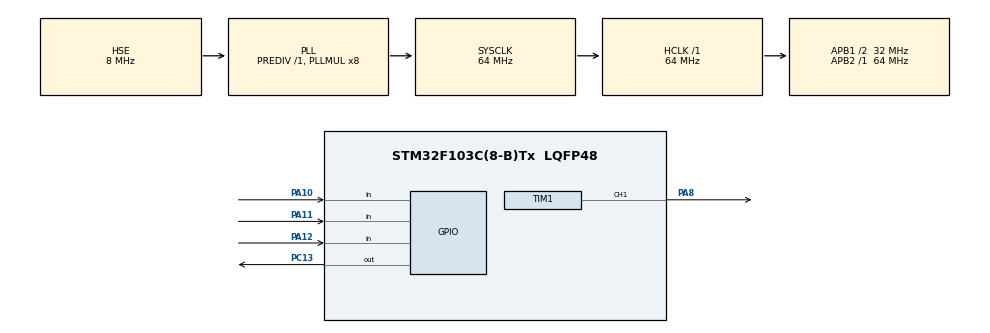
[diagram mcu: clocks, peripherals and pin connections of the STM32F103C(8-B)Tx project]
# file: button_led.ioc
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Mcu.Family=STM32F1
Mcu.Name=STM32F103C(8-B)Tx
Mcu.Package=LQFP48
NVIC.PriorityGroup=NVIC_PRIORITYGROUP_4
PA10.Signal=GPIO_Input
PA11.Signal=GPIO_Input
PA12.Signal=GPIO_Input
PA13.Mode=Serial_Wire
PA13.Signal=SYS_JTMS-SWDIO
PA14.Mode=Serial_Wire
PA14.Signal=SYS_JTCK-SWCLK
PA8.Signal=S_TIM1_CH1
PC13-TAMPER-RTC.Signal=GPIO_Output
PD0-OSC_IN.Mode=HSE-External-Oscillator
PD0-OSC_IN.Signal=RCC_OSC_IN
PD1-OSC_OUT.Mode=HSE-External-Oscillator
PD1-OSC_OUT.Signal=RCC_OSC_OUT
ProjectManager.HeapSize=0x200
ProjectManager.StackSize=0x400
ProjectManager.TargetToolchain=MDK-ARM V5.32
RCC.AHBFreq_Value=64000000
RCC.APB1CLKDivider=RCC_HCLK_DIV2
RCC.APB1Freq_Value=32000000
RCC.APB1TimFreq_Value=64000000
RCC.APB2Freq_Value=64000000
RCC.APB2TimFreq_Value=64000000
RCC.HCLKFreq_Value=64000000
RCC.PLLMUL=RCC_PLL_MUL8
RCC.PLLSourceVirtual=RCC_PLLSOURCE_HSE
RCC.SYSCLKFreq_VALUE=64000000
RCC.SYSCLKSource=RCC_SYSCLKSOURCE_PLLCLK
RCC.USBFreq_Value=64000000
SH.S_TIM1_CH1.0=TIM1_CH1,PWM Generation1 CH1
TIM1.Channel-PWM\ Generation1\ CH1=TIM_CHANNEL_1
TIM1.Period=999
TIM1.Prescaler=63
VP_TIM1_VS_ClockSourceINT.Mode=Internal
board=custom

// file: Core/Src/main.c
/* USER CODE BEGIN Header */
/**
  ******************************************************************************
  * @file           : main.c
  * @brief          : Main program body
  ******************************************************************************
  * @attention
  *
  * Copyright (c) 2024 STMicroelectronics.
  * All rights reserved.
  *
  * This software is licensed under terms that can be found in the LICENSE file
  * in the root directory of this software component.
  * If no LICENSE file comes with this software, it is provided AS-IS.
  *
  ******************************************************************************
  */
/* USER CODE END Header */
#include "main.h"

/* USER CODE BEGIN Includes */
#include "button.h"
#include "pwm.h"
/* USER CODE END Includes */

TIM_HandleTypeDef htim1;

void SystemClock_Config(void);
static void MX_GPIO_Init(void);
static void MX_TIM1_Init(void);

/* USER CODE BEGIN 0 */
Button_Typedef btn_on_off;
Button_Typedef btn_increase;
Button_Typedef btn_descrease;
uint8_t level=100;
void btn_pressing_callback(Button_Typedef *ButtonX){
		if(ButtonX->GPIO_Pin==GPIO_PIN_12){
			HAL_GPIO_TogglePin(GPIOC,GPIO_PIN_13);
		}
		else if(ButtonX->GPIO_Pin==GPIO_PIN_11){
			if(level<=90){
				level+=10;
				pwm_set_duty(&htim1,TIM_CHANNEL_1,level);
			}
		}
		else if(ButtonX->GPIO_Pin==GPIO_PIN_10){
			if(level>=10){
				level-=10;
				pwm_set_duty(&htim1,TIM_CHANNEL_1,level);
			}
		}
	}
/* USER CODE END 0 */

int main(void)
{

  /* MCU Configuration--------------------------------------------------------*/

  /* Reset of all peripherals, Initializes the Flash interface and the Systick. */
  HAL_Init();

  /* Configure the system clock */
  SystemClock_Config();

  /* Initialize all configured peripherals */
  MX_GPIO_Init();
  MX_TIM1_Init();
  /* USER CODE BEGIN 2 */
	button_init(&btn_on_off,GPIOA,GPIO_PIN_12);
	button_init(&btn_increase,GPIOA,GPIO_PIN_11);
	button_init(&btn_descrease,GPIOA,GPIO_PIN_10);
  /* USER CODE END 2 */

  /* Infinite loop */
  while (1)
  {

    /* USER CODE BEGIN 3 */
		if(HAL_GPIO_ReadPin(GPIOA,GPIO_PIN_12)){
			button_handle(&btn_on_off);
		}else if(HAL_GPIO_ReadPin(GPIOA,GPIO_PIN_11)){
			button_handle(&btn_increase);
		}else if(HAL_GPIO_ReadPin(GPIOA,GPIO_PIN_10)){
			button_handle(&btn_descrease);
		}
  }
  /* USER CODE END 3 */
}

void SystemClock_Config(void)
{
  RCC_OscInitTypeDef RCC_OscInitStruct = {0};
  RCC_ClkInitTypeDef RCC_ClkInitStruct = {0};

  /** Initializes the RCC Oscillators according to the specified parameters
  * in the RCC_OscInitTypeDef structure.
  */
  RCC_OscInitStruct.OscillatorType = RCC_OSCILLATORTYPE_HSE;
  RCC_OscInitStruct.HSEState = RCC_HSE_ON;
  RCC_OscInitStruct.HSEPredivValue = RCC_HSE_PREDIV_DIV1;
  RCC_OscInitStruct.HSIState = RCC_HSI_ON;
  RCC_OscInitStruct.PLL.PLLState = RCC_PLL_ON;
  RCC_OscInitStruct.PLL.PLLSource = RCC_PLLSOURCE_HSE;
  RCC_OscInitStruct.PLL.PLLMUL = RCC_PLL_MUL8;
  if (HAL_RCC_OscConfig(&RCC_OscInitStruct) != HAL_OK)
  {
    Error_Handler();
  }

  /** Initializes the CPU, AHB and APB buses clocks
  */
  RCC_ClkInitStruct.ClockType = RCC_CLOCKTYPE_HCLK|RCC_CLOCKTYPE_SYSCLK
                              |RCC_CLOCKTYPE_PCLK1|RCC_CLOCKTYPE_PCLK2;
  RCC_ClkInitStruct.SYSCLKSource = RCC_SYSCLKSOURCE_PLLCLK;
  RCC_ClkInitStruct.AHBCLKDivider = RCC_SYSCLK_DIV1;
  RCC_ClkInitStruct.APB1CLKDivider = RCC_HCLK_DIV2;
  RCC_ClkInitStruct.APB2CLKDivider = RCC_HCLK_DIV1;

  if (HAL_RCC_ClockConfig(&RCC_ClkInitStruct, FLASH_LATENCY_2) != HAL_OK)
  {
    Error_Handler();
  }
}

static void MX_TIM1_Init(void)
{

  TIM_ClockConfigTypeDef sClockSourceConfig = {0};
  TIM_MasterConfigTypeDef sMasterConfig = {0};
  TIM_OC_InitTypeDef sConfigOC = {0};
  TIM_BreakDeadTimeConfigTypeDef sBreakDeadTimeConfig = {0};

  htim1.Instance = TIM1;
  htim1.Init.Prescaler = 63;
  htim1.Init.CounterMode = TIM_COUNTERMODE_UP;
  htim1.Init.Period = 999;
  htim1.Init.ClockDivision = TIM_CLOCKDIVISION_DIV1;
  htim1.Init.RepetitionCounter = 0;
  htim1.Init.AutoReloadPreload = TIM_AUTORELOAD_PRELOAD_DISABLE;
  if (HAL_TIM_Base_Init(&htim1) != HAL_OK)
  {
    Error_Handler();
  }
  sClockSourceConfig.ClockSource = TIM_CLOCKSOURCE_INTERNAL;
  if (HAL_TIM_ConfigClockSource(&htim1, &sClockSourceConfig) != HAL_OK)
  {
    Error_Handler();
  }
  if (HAL_TIM_PWM_Init(&htim1) != HAL_OK)
  {
    Error_Handler();
  }
  sMasterConfig.MasterOutputTrigger = TIM_TRGO_RESET;
  sMasterConfig.MasterSlaveMode = TIM_MASTERSLAVEMODE_DISABLE;
  if (HAL_TIMEx_MasterConfigSynchronization(&htim1, &sMasterConfig) != HAL_OK)
  {
    Error_Handler();
  }
  sConfigOC.OCMode = TIM_OCMODE_PWM1;
  sConfigOC.Pulse = 0;
  sConfigOC.OCPolarity = TIM_OCPOLARITY_HIGH;
  sConfigOC.OCNPolarity = TIM_OCNPOLARITY_HIGH;
  sConfigOC.OCFastMode = TIM_OCFAST_DISABLE;
  sConfigOC.OCIdleState = TIM_OCIDLESTATE_RESET;
  sConfigOC.OCNIdleState = TIM_OCNIDLESTATE_RESET;
  if (HAL_TIM_PWM_ConfigChannel(&htim1, &sConfigOC, TIM_CHANNEL_1) != HAL_OK)
  {
    Error_Handler();
  }
  sBreakDeadTimeConfig.OffStateRunMode = TIM_OSSR_DISABLE;
  sBreakDeadTimeConfig.OffStateIDLEMode = TIM_OSSI_DISABLE;
  sBreakDeadTimeConfig.LockLevel = TIM_LOCKLEVEL_OFF;
  sBreakDeadTimeConfig.DeadTime = 0;
  sBreakDeadTimeConfig.BreakState = TIM_BREAK_DISABLE;
  sBreakDeadTimeConfig.BreakPolarity = TIM_BREAKPOLARITY_HIGH;
  sBreakDeadTimeConfig.AutomaticOutput = TIM_AUTOMATICOUTPUT_DISABLE;
  if (HAL_TIMEx_ConfigBreakDeadTime(&htim1, &sBreakDeadTimeConfig) != HAL_OK)
  {
    Error_Handler();
  }
  HAL_TIM_MspPostInit(&htim1);

}

static void MX_GPIO_Init(void)
{
  GPIO_InitTypeDef GPIO_InitStruct = {0};

  /* GPIO Ports Clock Enable */
  __HAL_RCC_GPIOC_CLK_ENABLE();
  __HAL_RCC_GPIOD_CLK_ENABLE();
  __HAL_RCC_GPIOA_CLK_ENABLE();

  /*Configure GPIO pin Output Level */
  HAL_GPIO_WritePin(GPIOC, GPIO_PIN_13, GPIO_PIN_RESET);

  /*Configure GPIO pin : PC13 */
  GPIO_InitStruct.Pin = GPIO_PIN_13;
  GPIO_InitStruct.Mode = GPIO_MODE_OUTPUT_PP;
  GPIO_InitStruct.Pull = GPIO_NOPULL;
  GPIO_InitStruct.Speed = GPIO_SPEED_FREQ_LOW;
  HAL_GPIO_Init(GPIOC, &GPIO_InitStruct);

  /*Configure GPIO pins : PA10 PA11 PA12 */
  GPIO_InitStruct.Pin = GPIO_PIN_10|GPIO_PIN_11|GPIO_PIN_12;
  GPIO_InitStruct.Mode = GPIO_MODE_INPUT;
  GPIO_InitStruct.Pull = GPIO_NOPULL;
  HAL_GPIO_Init(GPIOA, &GPIO_InitStruct);

}

void Error_Handler(void)
{
  __disable_irq();
  while (1)
  {
  }
}
